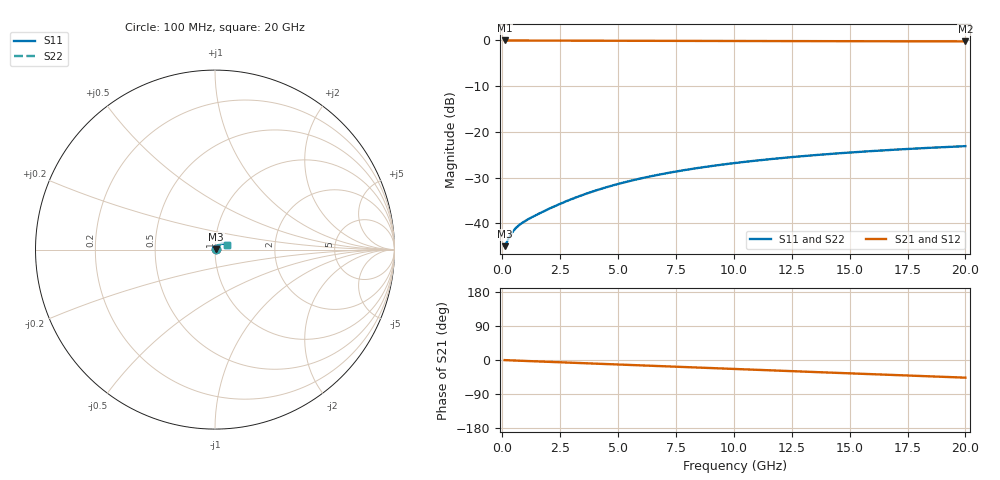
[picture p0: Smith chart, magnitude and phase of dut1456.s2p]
! Touchstone file exported from HFSS 2026.1.0
!  File:  C:/ffzhzh/LocalFiles/Ansys_Project_Files/temp_train_TMRDL_1456_1783167285_51560.aedt
!  Generated:  08:16:00 PM Jul  4, 2026
!  Design:  TMRDL
!  Project:  temp_train_TMRDL_1456_1783167285_51560
! Variables:
!  h_bsmrdl = 2um
!  h_ox = 20um
!  h_rdl = 5um
!  h_sub = 80um
!  h_tmrdl = 3.22um
!  h_tsv = 80um
!  h_via = 3um
!  l_bsmrdl = 300um
!  l_sub = 1238.64um
!  l_tmrdl = 838.64um
!  m_sub = 200um
!  pitch = 21.68um
!  r_tsv = 6um
!  s_tmrdl = 10um
!  w_bsmrdl = 18um
!  w_sub = 500um
!  w_tmrdl = 17.34um
!  x_tsv_center1 = 847.31um
!  x_tsv_center2 = 1165.31um
!  x_tsv_center3 = 2021.29um
!  x_tsv_center4 = 2339.29um
!  x_tsv_center5 = 3195.27um
!  x_tsv_center6 = 3513.27um
# GHz S MA R 50.000000
! Terminal data exported
! Port[1] = TM_RDL1_1_T1
! Port[2] = TM_RDL1_1_T2
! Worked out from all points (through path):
!   200 points, 100 MHz to 20 GHz, reference 50 ohm
!   highest |S21| = -0.05 dB at 100 MHz (marker M1); lowest = -0.3 dB at 20 GHz (marker M2)
!   group delay of S21, straight-line fit = 6.45 ps
!   lowest |S11| = -45.0 dB at 100 MHz (marker M3), VSWR 1.01, Z = 50.6 + j0.118 ohm
!   |S11| at or under -10 dB: start of sweep to end of sweep
!   |S22| runs from -45.0 to -23.1 dB; largest |S21 - S12| = 2e-15
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0.1  0.005639 11.9  0.9945 -0.3  0.9945 -0.3  0.005639 11.9
! Gamma 0 0 0 0
! Port Impedance 50 0 50 0
0.3  0.007042 25.5  0.9937 -0.8  0.9937 -0.8  0.007042 25.5
0.4  0.007772 28.3  0.9932 -1.1  0.9932 -1.1  0.007773 28.3
0.5  0.008414 30.0  0.9928 -1.3  0.9928 -1.3  0.008416 30.0
0.6  0.008968 31.3  0.9925 -1.6  0.9925 -1.6  0.008972 31.3
0.7  0.009453 32.3  0.9922 -1.8  0.9922 -1.8  0.009457 32.3
0.9  0.01029 34.3  0.9917 -2.3  0.9917 -2.3  0.0103 34.3
1.4  0.01212 39.3  0.9911 -3.4  0.9911 -3.4  0.01213 39.3
2.1  0.01476 45.0  0.9905 -5.1  0.9905 -5.1  0.01477 44.9
2.8  0.01761 48.5  0.9899 -6.8  0.9899 -6.8  0.01762 48.5
3.5  0.02057 50.5  0.9892 -8.4  0.9892 -8.4  0.02058 50.4
4.2  0.02356 51.3  0.9884 -10.1  0.9884 -10.1  0.02358 51.2
5  0.02694 51.3  0.9875 -12.0  0.9875 -12.0  0.02697 51.2
5.9  0.03064 50.6  0.9864 -14.1  0.9864 -14.1  0.03067 50.4
6.8  0.0342 49.4  0.9852 -16.2  0.9852 -16.2  0.03424 49.2
8.3  0.03975 46.8  0.9832 -19.8  0.9832 -19.8  0.03981 46.6
10.1  0.04581 43.3  0.9808 -23.9  0.9808 -23.9  0.04588 43.0
11.7  0.05067 40.1  0.9788 -27.6  0.9788 -27.6  0.05077 39.7
13.4  0.05537 36.6  0.9769 -31.5  0.9769 -31.5  0.05549 36.2
15  0.05939 33.3  0.9752 -35.2  0.9752 -35.2  0.05954 32.8
16.7  0.06327 29.8  0.9735 -39.1  0.9735 -39.1  0.06345 29.3
20  0.06975 23.1  0.9706 -46.6  0.9706 -46.6  0.06998 22.5
